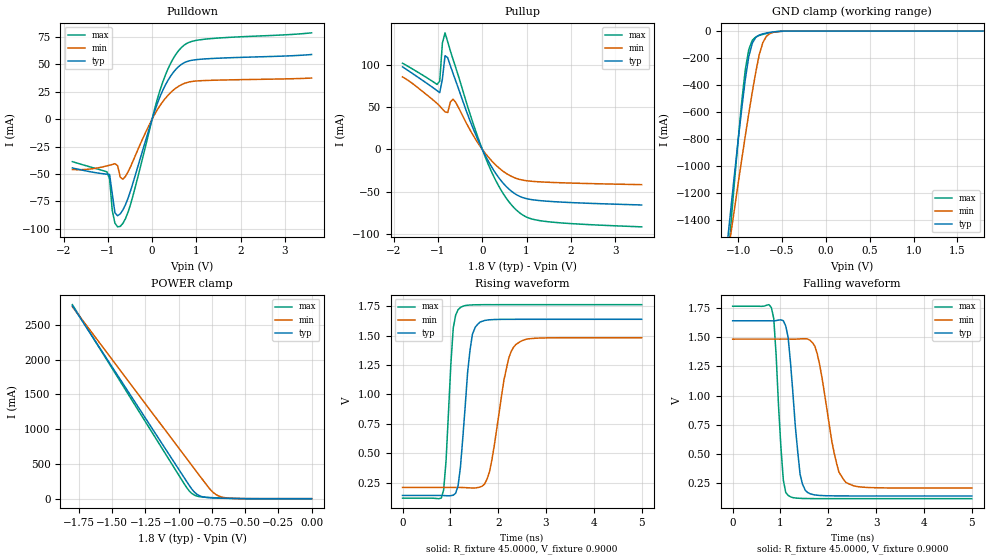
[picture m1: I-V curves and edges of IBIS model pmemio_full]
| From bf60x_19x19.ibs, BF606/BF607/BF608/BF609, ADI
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[Model]  pmemio_full
Model_type I/O
Polarity   Non-Inverting
Enable   Active-Low
Vinl =   0.6500V
Vinh =   1.1500V
Vmeas =  0.9000V
Cref =   10.0000pF
Rref =   45.0000
Vref =   0.9000V
C_comp   3.6123pF   3.9509pF   3.3683pF
[Temperature Range]   25.0000   0.1250k   0.0
[Voltage Range]   1.8000V   1.7000V   1.9000V
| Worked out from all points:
|   slope of the pulldown table from 0 to 0.27 V, typ, clamps not added: 9.42 ohm
|   slope of the pullup table from 0 to 0.27 V, typ, clamps not added: 10.5 ohm
|   GND clamp passes 1 mA (typ) near -0.49 V on its own axis
|   POWER clamp passes 1 mA (typ) near -0.53 V on its own axis
|   rising waveform, R_fixture 45.0000, V_fixture 0.9000: 20-80 % time 179ps typ, 300ps min, 128ps max; typ from 0.142 V to 1.64 V
|   falling waveform, R_fixture 45.0000, V_fixture 0.9000: 20-80 % time 185ps typ, 314ps min, 134ps max; typ from 1.64 V to 0.142 V
[Pulldown]
|Voltage   I(typ)   I(min)   I(max)
-1.8V     -44.49mA   -45.97mA   -38.75mA
-1.02V    -50.2mA    -42.59mA   -48mA
-960mV    -50.46mA   -41.97mA   -54.64mA
-900mV    -67.97mA   -41.33mA   -83.25mA
-840mV    -85.34mA   -40.61mA   -94.8mA
-780mV    -88.06mA   -42.31mA   -98.19mA
-720mV    -86.38mA   -52.97mA   -97.8mA
-480mV    -64.48mA   -42.69mA   -76.77mA
240mV     26.19mA    15.89mA    33.77mA
660mV     49.87mA    31.35mA    65.21mA
1.2V      54.91mA    35.2mA     72.91mA
3.6V      58.89mA    37.43mA    78.67mA
[Pullup]
|Voltage   I(typ)   I(min)   I(max)
-1.8V     97.36mA    85.53mA    101.7mA
-1.02V    69.26mA    54.11mA    76.6mA
-960mV    66.84mA    51mA       80.44mA
-900mV    82.93mA    47.56mA    125.5mA
-840mV    110.6mA    44.17mA    137.6mA
-780mV    108.2mA    43.43mA    127.1mA
-660mV    89.64mA    59.32mA    106.3mA
-240mV    28.95mA    19.54mA    35.9mA
120mV     -12.46mA   -8.155mA   -15.9mA
480mV     -40.59mA   -26.37mA   -53.01mA
900mV     -56.89mA   -36.38mA   -77.26mA
3.6V      -65.9mA    -41.87mA   -91.75mA
[GND_clamp]
|Voltage   I(typ)   I(min)   I(max)
-1.8V     -6.07A     -4.897A    -7.407A
-1.12V    -1.546A    -1.671A    -1.719A
-1.08V    -1.294A    -1.488A    -1.405A
-1V       -805.6mA   -1.129A    -801.4mA
-960mV    -575.4mA   -952.7mA   -523.3mA
-920mV    -361.5mA   -780.6mA   -288.5mA
-880mV    -190.9mA   -613.7mA   -138.4mA
-840mV    -90.93mA   -454mA     -68.72mA
-800mV    -46.73mA   -305.2mA   -43.97mA
-720mV    -20.7mA    -86.99mA   -25.13mA
-600mV    -6.426mA   -9.601mA   -8.755mA
1.8V      90.38pA    38.35nA    69.58pA
[POWER_clamp]
|Voltage   I(typ)   I(min)   I(max)
-1.8V     2.775A     2.761A     2.791A
-960mV    306.4mA    628.6mA    218.5mA
-920mV    189.6mA    527.3mA    109.9mA
-900mV    135.2mA    476.7mA    73.19mA
-880mV    91.17mA    426mA      49.38mA
-840mV    39.16mA    324.6mA    27.86mA
-760mV    13.35mA    127mA      16mA
-720mV    9.728mA    59.79mA    12.42mA
-680mV    7.06mA     25.51mA    9.286mA
-540mV    1.159mA    1.976mA    1.7mA
0V        90.38pA    3.773nA    81.3pA
[Ramp]
| variable   typ   min   max
dV/dt_r  0.8890/0.1861n   0.7520/0.3209n   0.9812/0.1371n
dV/dt_f  0.9070/0.2122n   0.7542/0.3560n   0.9986/0.1497n
R_load = 50.0000
[Rising Waveform]
R_fixture= 45.0000
V_fixture= 0.9000
V_fixture_min= 0.8500
V_fixture_max= 0.9500
L_fixture= 0.0H
C_fixture= 0.0F
|time   V(typ)   V(min)   V(max)
0s        142.5mV    210.2mV    119.2mV
810ps     142.1mV    210.1mV    119.9mV
910ps     140.1mV    210.1mV    436.2mV
1.06ns    144.6mV    210.2mV    1.563V
1.21ns    380.2mV    210mV      1.738V
1.41ns    1.373V     206.4mV    1.76V
1.62ns    1.614V     213.7mV    1.762V
1.82ns    1.634V     345.8mV    1.762V
2.37ns    1.638V     1.424V     1.762V
5ns       1.638V     1.482V     1.763V
[Falling Waveform]
R_fixture= 45.0000
V_fixture= 0.9000
V_fixture_min= 0.8500
V_fixture_max= 0.9500
L_fixture= 0.0H
C_fixture= 0.0F
|time   V(typ)   V(min)   V(max)
0s        1.638V     1.482V     1.763V
810ps     1.638V     1.482V     1.75V
860ps     1.638V     1.482V     1.656V
1.06ns    1.639V     1.482V     276.3mV
1.16ns    1.496V     1.482V     147.3mV
1.41ns    327.1mV    1.484V     122.1mV
1.57ns    171.3mV    1.483V     120.3mV
1.77ns    148.8mV    1.354V     119.5mV
2.37ns    142.7mV    256.7mV    119.2mV
5ns       142.5mV    210.2mV    119.2mV
